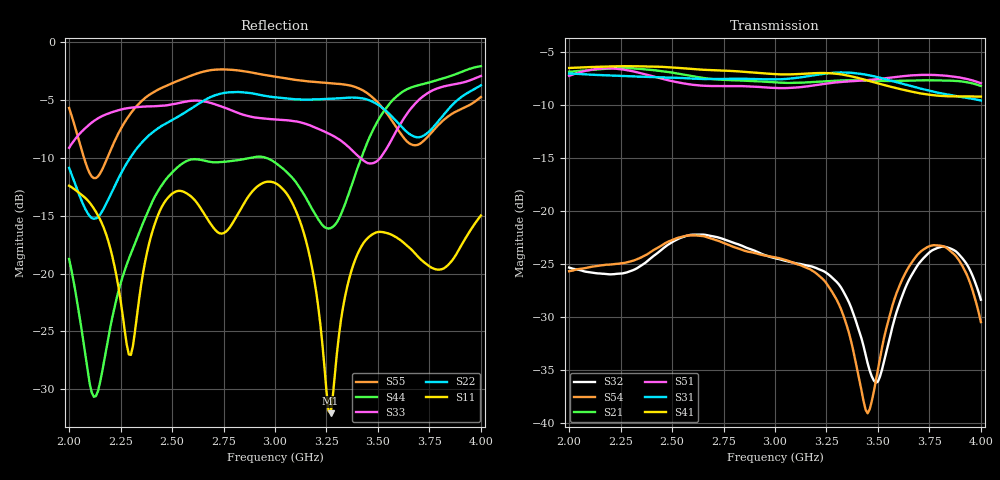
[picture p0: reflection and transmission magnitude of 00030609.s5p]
! Created with skrf 1.8.0 (http://scikit-rf.org).
# Hz S RI R 50.0
!freq ReS11 ImS11 ReS12 ImS12 ReS13 ImS13
! ReS14 ImS14 ReS15 ImS15
! ReS21 ImS21 ReS22 ImS22 ReS23 ImS23
! ReS24 ImS24 ReS25 ImS25
! ReS31 ImS31 ReS32 ImS32 ReS33 ImS33
! ReS34 ImS34 ReS35 ImS35
! ReS41 ImS41 ReS42 ImS42 ReS43 ImS43
! ReS44 ImS44 ReS45 ImS45
! ReS51 ImS51 ReS52 ImS52 ReS53 ImS53
! ReS54 ImS54 ReS55 ImS55
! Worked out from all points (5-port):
!   201 points, 2 GHz to 4 GHz, reference 50 ohm
!   strongest paths, dB at 2 GHz, 2.5 GHz, 3 GHz, 3.5 GHz, 4 GHz:
!     S41: -6.5, -6.4, -7.1, -7.9, -9.2
!     S31: -7.0, -7.4, -7.6, -7.4, -9.6
!     S51: -7.2, -7.7, -8.4, -7.5, -7.9
!     S21: -6.8, -6.9, -7.8, -7.7, -8.2
!     S54: -25.6, -22.7, -24.4, -34.9, -30.4
!     S32: -25.3, -22.9, -24.4, -36.1, -28.3
!   lowest |S11| = -32.1 dB at 3.27 GHz (marker M1), VSWR 1.05, Z = 50.5 + j2.45 ohm
!   |S11| at or under -10 dB: start of sweep to end of sweep
